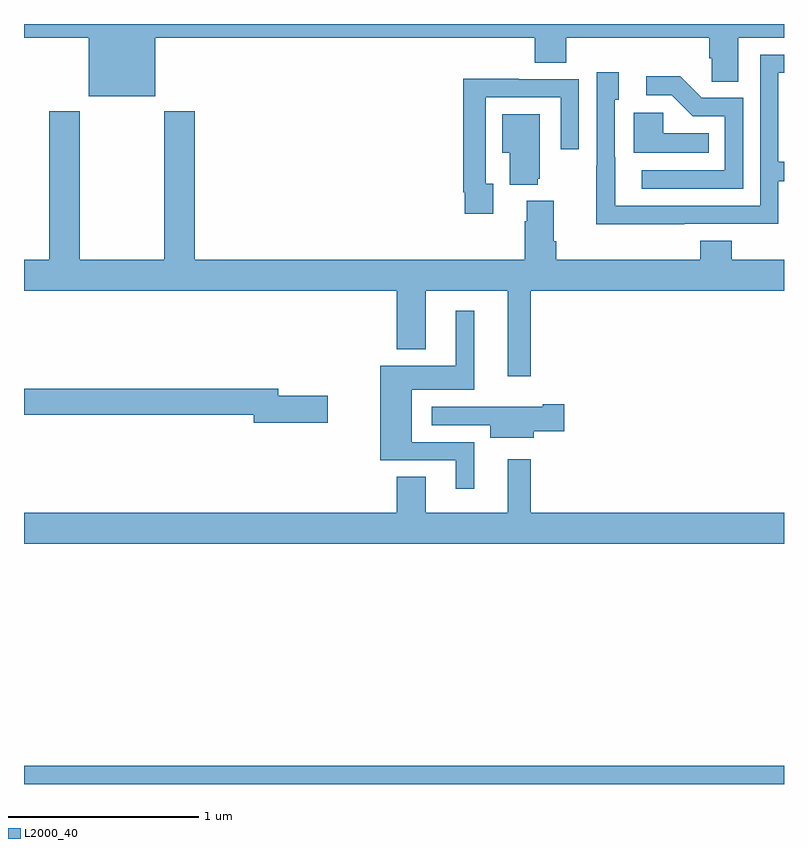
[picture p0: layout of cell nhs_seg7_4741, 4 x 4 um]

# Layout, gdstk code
import gdstk
lib = gdstk.Library(unit=1e-6, precision=1e-09)
def R(c, l, rs):  # rectangles x0, y0, x1, y1
    for r in rs: c.add(gdstk.rectangle(r[:2], r[2:], *l))
def P(c, l, *ps):  # polygons
    for p in ps: c.add(gdstk.Polygon(p, *l))
L2000_40 = (2000, 40)

nhs_seg7_4741 = lib.new_cell('nhs_seg7_4741')
R(nhs_seg7_4741, L2000_40, [(409,1018,413,1018.096)])
P(nhs_seg7_4741, L2000_40, [(409.69,1021.928),(411.689,1021.928),(411.689,1021.795),(411.854,1021.795),(411.854,1021.928),(412.607,1021.928),(412.607,1021.819),(412.62,1021.819),(412.62,1021.696),(412.759,1021.696),(412.759,1021.928),(413,1021.928),(413,1022),(409,1022),(409,1021.928),(409.34,1021.928),(409.34,1021.619),(409.69,1021.619)],
  [(412.475,1020.948),(412.971,1020.948),(412.971,1021.173),(413,1021.173),(413,1021.274),(412.971,1021.274),(412.971,1021.743),(413,1021.743),(413,1021.839),(412.875,1021.839),(412.875,1021.044),(412.111,1021.044),(412.111,1021.298),(412.11,1021.298),(412.11,1021.602),(412.129,1021.602),(412.129,1021.747),(412.014,1021.747),(412.014,1021.253),(412.012,1021.253),(412.012,1020.947),(412.475,1020.947)],
  [(412.785,1021.611),(412.566,1021.611),(412.453,1021.724),(412.275,1021.724),(412.275,1021.626),(412.409,1021.626),(412.52,1021.515),(412.689,1021.515),(412.689,1021.23),(412.251,1021.23),(412.251,1021.134),(412.785,1021.134)],
  [(411.469,1021.158),(411.429,1021.158),(411.429,1021.614),(411.825,1021.614),(411.825,1021.341),(411.921,1021.341),(411.921,1021.71),(411.605,1021.71),(411.605,1021.712),(411.313,1021.712),(411.313,1021.114),(411.321,1021.114),(411.321,1021.002),(411.469,1021.002)],
  [(409.738,1021.54),(409.738,1020.76),(409.293,1020.76),(409.293,1021.54),(409.133,1021.54),(409.133,1020.76),(409,1020.76),(409,1020.596),(410.963,1020.596),(410.963,1020.287),(411.115,1020.287),(411.115,1020.596),(411.545,1020.596),(411.545,1020.147),(411.667,1020.147),(411.667,1020.596),(413,1020.596),(413,1020.76),(412.724,1020.76),(412.724,1020.859),(412.559,1020.859),(412.559,1020.76),(411.8,1020.76),(411.8,1020.856),(411.787,1020.856),(411.787,1021.069),(411.647,1021.069),(411.647,1020.962),(411.635,1020.962),(411.635,1020.76),(409.898,1020.76),(409.898,1021.54)],
  [(412.604,1021.426),(412.365,1021.426),(412.365,1021.534),(412.208,1021.534),(412.208,1021.322),(412.604,1021.322)],
  [(411.704,1021.185),(411.715,1021.185),(411.715,1021.525),(411.518,1021.525),(411.518,1021.322),(411.557,1021.322),(411.557,1021.154),(411.704,1021.154)],
  [(411.37,1019.799),(411.04,1019.799),(411.04,1020.074),(411.37,1020.074),(411.37,1020.49),(411.272,1020.49),(411.272,1020.202),(410.876,1020.202),(410.876,1019.703),(411.272,1019.703),(411.272,1019.553),(411.37,1019.553)],
  [(410.599,1020.044),(410.338,1020.044),(410.338,1020.08),(409,1020.08),(409,1019.944),(410.21,1019.944),(410.21,1019.902),(410.599,1019.902)],
  [(411.682,1019.857),(411.844,1019.857),(411.844,1019.999),(411.731,1019.999),(411.731,1019.986),(411.459,1019.986),(411.459,1019.985),(411.147,1019.985),(411.147,1019.889),(411.455,1019.889),(411.455,1019.822),(411.682,1019.822)],
  [(413,1019.428),(411.667,1019.428),(411.667,1019.71),(411.545,1019.71),(411.545,1019.428),(411.115,1019.428),(411.115,1019.618),(410.963,1019.618),(410.963,1019.428),(409,1019.428),(409,1019.264),(413,1019.264)])

lib.write_gds('nhs_seg7_4741.gds')
